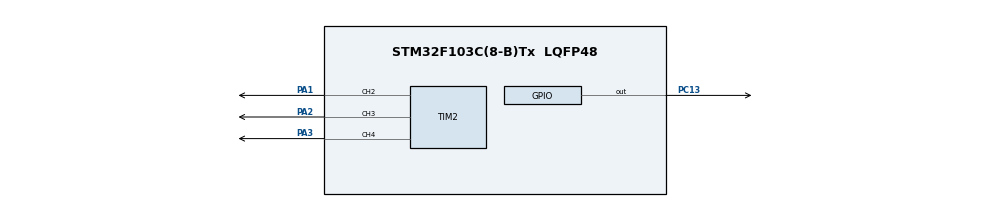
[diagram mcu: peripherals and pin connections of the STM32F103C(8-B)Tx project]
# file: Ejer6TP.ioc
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Mcu.Family=STM32F1
Mcu.Name=STM32F103C(8-B)Tx
Mcu.Package=LQFP48
NVIC.PriorityGroup=NVIC_PRIORITYGROUP_4
NVIC.TIM2_IRQn=true\:0\:0\:false\:false\:true\:true\:true\:true
NVIC.TIM3_IRQn=true\:0\:0\:false\:false\:true\:true\:true\:true
PA1.Signal=S_TIM2_CH2
PA13.Mode=Serial_Wire
PA13.Signal=SYS_JTMS-SWDIO
PA14.Mode=Serial_Wire
PA14.Signal=SYS_JTCK-SWCLK
PA2.Signal=S_TIM2_CH3
PA3.Signal=S_TIM2_CH4
PC13-TAMPER-RTC.Signal=GPIO_Output
PD0-OSC_IN.Mode=HSE-External-Oscillator
PD0-OSC_IN.Signal=RCC_OSC_IN
PD1-OSC_OUT.Mode=HSE-External-Oscillator
PD1-OSC_OUT.Signal=RCC_OSC_OUT
ProjectManager.HeapSize=0x200
ProjectManager.StackSize=0x400
ProjectManager.TargetToolchain=STM32CubeIDE
RCC.APB1Freq_Value=8000000
RCC.APB2Freq_Value=8000000
SH.S_TIM2_CH2.0=TIM2_CH2,PWM Generation2 CH2
SH.S_TIM2_CH3.0=TIM2_CH3,PWM Generation3 CH3
SH.S_TIM2_CH4.0=TIM2_CH4,PWM Generation4 CH4
TIM2.Channel-PWM\ Generation2\ CH2=TIM_CHANNEL_2
TIM2.Channel-PWM\ Generation3\ CH3=TIM_CHANNEL_3
TIM2.Channel-PWM\ Generation4\ CH4=TIM_CHANNEL_4
TIM3.Period=50
TIM3.Prescaler=35999
VP_TIM2_VS_ClockSourceINT.Mode=Internal
VP_TIM3_VS_ClockSourceINT.Mode=Internal
board=custom

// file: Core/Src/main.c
/* USER CODE BEGIN Header */
/**
  ******************************************************************************
  * @file           : main.c
  * @brief          : Main program body
  ******************************************************************************
  * @attention
  *
  * Copyright (c) 2024 STMicroelectronics.
  * All rights reserved.
  *
  * This software is licensed under terms that can be found in the LICENSE file
  * in the root directory of this software component.
  * If no LICENSE file comes with this software, it is provided AS-IS.
  *
  ******************************************************************************
  */
/* USER CODE END Header */
#include "main.h"

TIM_HandleTypeDef htim2;
TIM_HandleTypeDef htim3;

void SystemClock_Config(void);
static void MX_GPIO_Init(void);
static void MX_TIM2_Init(void);
static void MX_TIM3_Init(void);

int main(void)
{

  /* MCU Configuration--------------------------------------------------------*/

  /* Reset of all peripherals, Initializes the Flash interface and the Systick. */
  HAL_Init();

  /* Configure the system clock */
  SystemClock_Config();

  /* Initialize all configured peripherals */
  MX_GPIO_Init();
  MX_TIM2_Init();
  MX_TIM3_Init();
  /* USER CODE BEGIN 2 */
HAL_TIM_Base_Start_IT(&htim3);
HAL_TIM_PWM_Start(&htim2, TIM_CHANNEL_2);
HAL_TIM_PWM_Start(&htim2, TIM_CHANNEL_3);
HAL_TIM_PWM_Start(&htim2, TIM_CHANNEL_4);

  /* USER CODE END 2 */

  /* Infinite loop */
  /* USER CODE BEGIN WHILE */
  while (1)
  {

	  int x;
	  for(x=0; x<16383; x=x+10) //DutyCycle=25%
	  	      {
	  	        __HAL_TIM_SET_COMPARE(&htim2,TIM_CHANNEL_2, x);
	  	        HAL_Delay(1);
	  	      }
	  for(x=16383; x>0; x=x-10)
	  	      {
	  	        __HAL_TIM_SET_COMPARE(&htim2,TIM_CHANNEL_2, x);
	  	        HAL_Delay(1);
	  	      }
	  int y;
	  	  for(y=0; y<32767; y=y+10) //DutyCycle=50%
	  	  	      {
	  	  	        __HAL_TIM_SET_COMPARE(&htim2,TIM_CHANNEL_3, y);
	  	  	        HAL_Delay(1);
	  	  	      }
	  	  for(y=32767; y>0; y=y-10)
	  	  	      {
	  	  	        __HAL_TIM_SET_COMPARE(&htim2,TIM_CHANNEL_3, y);
	  	  	        HAL_Delay(1);
	  	  	      }
	  	  int z;
	  		  	  for(z=0; z<65535; z=z+10)//DutyCycle=100%
	  		  	  	      {
	  		  	  	        __HAL_TIM_SET_COMPARE(&htim2,TIM_CHANNEL_4, z);
	  		  	  	        HAL_Delay(1);
	  		  	  	      }
	  		  	  for(z=65535; z>0; z=z-10)
	  		  	  	      {
	  		  	  	        __HAL_TIM_SET_COMPARE(&htim2,TIM_CHANNEL_4, z);
	  		  	  	        HAL_Delay(1);
	  		  	  	      }
	    }
    /* USER CODE END WHILE */

  }

void SystemClock_Config(void)
{
  RCC_OscInitTypeDef RCC_OscInitStruct = {0};
  RCC_ClkInitTypeDef RCC_ClkInitStruct = {0};

  /** Initializes the RCC Oscillators according to the specified parameters
  * in the RCC_OscInitTypeDef structure.
  */
  RCC_OscInitStruct.OscillatorType = RCC_OSCILLATORTYPE_HSI;
  RCC_OscInitStruct.HSIState = RCC_HSI_ON;
  RCC_OscInitStruct.HSICalibrationValue = RCC_HSICALIBRATION_DEFAULT;
  RCC_OscInitStruct.PLL.PLLState = RCC_PLL_NONE;
  if (HAL_RCC_OscConfig(&RCC_OscInitStruct) != HAL_OK)
  {
    Error_Handler();
  }

  /** Initializes the CPU, AHB and APB buses clocks
  */
  RCC_ClkInitStruct.ClockType = RCC_CLOCKTYPE_HCLK|RCC_CLOCKTYPE_SYSCLK
                              |RCC_CLOCKTYPE_PCLK1|RCC_CLOCKTYPE_PCLK2;
  RCC_ClkInitStruct.SYSCLKSource = RCC_SYSCLKSOURCE_HSI;
  RCC_ClkInitStruct.AHBCLKDivider = RCC_SYSCLK_DIV1;
  RCC_ClkInitStruct.APB1CLKDivider = RCC_HCLK_DIV1;
  RCC_ClkInitStruct.APB2CLKDivider = RCC_HCLK_DIV1;

  if (HAL_RCC_ClockConfig(&RCC_ClkInitStruct, FLASH_LATENCY_0) != HAL_OK)
  {
    Error_Handler();
  }
}

static void MX_TIM2_Init(void)
{

  TIM_ClockConfigTypeDef sClockSourceConfig = {0};
  TIM_MasterConfigTypeDef sMasterConfig = {0};
  TIM_OC_InitTypeDef sConfigOC = {0};

  htim2.Instance = TIM2;
  htim2.Init.Prescaler = 0;
  htim2.Init.CounterMode = TIM_COUNTERMODE_UP;
  htim2.Init.Period = 65535;
  htim2.Init.ClockDivision = TIM_CLOCKDIVISION_DIV1;
  htim2.Init.AutoReloadPreload = TIM_AUTORELOAD_PRELOAD_DISABLE;
  if (HAL_TIM_Base_Init(&htim2) != HAL_OK)
  {
    Error_Handler();
  }
  sClockSourceConfig.ClockSource = TIM_CLOCKSOURCE_INTERNAL;
  if (HAL_TIM_ConfigClockSource(&htim2, &sClockSourceConfig) != HAL_OK)
  {
    Error_Handler();
  }
  if (HAL_TIM_PWM_Init(&htim2) != HAL_OK)
  {
    Error_Handler();
  }
  sMasterConfig.MasterOutputTrigger = TIM_TRGO_RESET;
  sMasterConfig.MasterSlaveMode = TIM_MASTERSLAVEMODE_DISABLE;
  if (HAL_TIMEx_MasterConfigSynchronization(&htim2, &sMasterConfig) != HAL_OK)
  {
    Error_Handler();
  }
  sConfigOC.OCMode = TIM_OCMODE_PWM1;
  sConfigOC.Pulse = 0;
  sConfigOC.OCPolarity = TIM_OCPOLARITY_HIGH;
  sConfigOC.OCFastMode = TIM_OCFAST_DISABLE;
  if (HAL_TIM_PWM_ConfigChannel(&htim2, &sConfigOC, TIM_CHANNEL_2) != HAL_OK)
  {
    Error_Handler();
  }
  if (HAL_TIM_PWM_ConfigChannel(&htim2, &sConfigOC, TIM_CHANNEL_3) != HAL_OK)
  {
    Error_Handler();
  }
  if (HAL_TIM_PWM_ConfigChannel(&htim2, &sConfigOC, TIM_CHANNEL_4) != HAL_OK)
  {
    Error_Handler();
  }
  HAL_TIM_MspPostInit(&htim2);

}

static void MX_TIM3_Init(void)
{

  TIM_ClockConfigTypeDef sClockSourceConfig = {0};
  TIM_MasterConfigTypeDef sMasterConfig = {0};

  htim3.Instance = TIM3;
  htim3.Init.Prescaler = 35999;
  htim3.Init.CounterMode = TIM_COUNTERMODE_UP;
  htim3.Init.Period = 50;
  htim3.Init.ClockDivision = TIM_CLOCKDIVISION_DIV1;
  htim3.Init.AutoReloadPreload = TIM_AUTORELOAD_PRELOAD_DISABLE;
  if (HAL_TIM_Base_Init(&htim3) != HAL_OK)
  {
    Error_Handler();
  }
  sClockSourceConfig.ClockSource = TIM_CLOCKSOURCE_INTERNAL;
  if (HAL_TIM_ConfigClockSource(&htim3, &sClockSourceConfig) != HAL_OK)
  {
    Error_Handler();
  }
  sMasterConfig.MasterOutputTrigger = TIM_TRGO_RESET;
  sMasterConfig.MasterSlaveMode = TIM_MASTERSLAVEMODE_DISABLE;
  if (HAL_TIMEx_MasterConfigSynchronization(&htim3, &sMasterConfig) != HAL_OK)
  {
    Error_Handler();
  }

}

static void MX_GPIO_Init(void)
{
  GPIO_InitTypeDef GPIO_InitStruct = {0};

  /* GPIO Ports Clock Enable */
  __HAL_RCC_GPIOC_CLK_ENABLE();
  __HAL_RCC_GPIOD_CLK_ENABLE();
  __HAL_RCC_GPIOA_CLK_ENABLE();

  /*Configure GPIO pin Output Level */
  HAL_GPIO_WritePin(GPIOC, GPIO_PIN_13, GPIO_PIN_RESET);

  /*Configure GPIO pin : PC13 */
  GPIO_InitStruct.Pin = GPIO_PIN_13;
  GPIO_InitStruct.Mode = GPIO_MODE_OUTPUT_PP;
  GPIO_InitStruct.Pull = GPIO_NOPULL;
  GPIO_InitStruct.Speed = GPIO_SPEED_FREQ_LOW;
  HAL_GPIO_Init(GPIOC, &GPIO_InitStruct);

}

void Error_Handler(void)
{
  __disable_irq();
  while (1)
  {
  }
}
